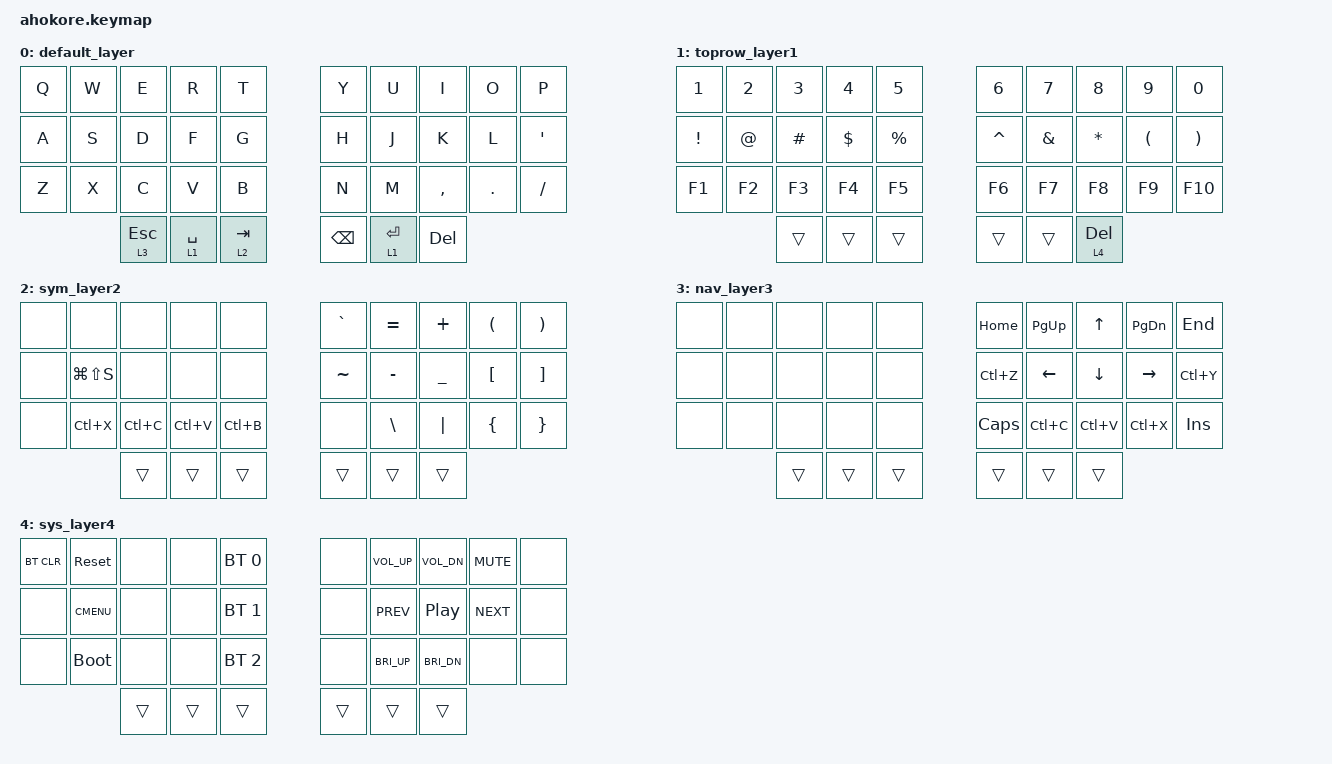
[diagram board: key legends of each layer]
/*
 * Copyright (c) 2020 The ZMK Contributors
 *
 * SPDX-License-Identifier: MIT
 */

#include <behaviors.dtsi>
#include <dt-bindings/zmk/keys.h>
#include <dt-bindings/zmk/bt.h>

&kscan0 {
      debounce-period=<12>;
};

/ {

behaviors {
      hm: homerow_mods {
        compatible = "zmk,behavior-hold-tap";
        label = "HOMEROW_MODS";
        #binding-cells = <2>;
        tapping_term_ms = <180>;
        flavor = "tap-preferred";
        bindings = <&kp>, <&kp>;
    };

    combos {
    compatible = "zmk,combos";
    combo_volup {
        timeout-ms = <40>;
        key-positions = <5 6>;
        bindings = <&kp C_VOL_UP>;
        layers = <0>;
    };
    combo_voldown {
        timeout-ms = <40>;
        key-positions = <15 16>;
        bindings = <&kp C_VOL_DN>;
        layers = <0>;
    };
    combo_mute {
        timeout-ms = <40>;
        key-positions = <25 26>;
        bindings = <&kp C_MUTE>;
        layers = <0>;
    };
    combo_briup {
        timeout-ms = <40>;
        key-positions = <5 6>;
        bindings = <&kp C_BRI_UP>;
        layers = <1>;
    };
    combo_bridown {
        timeout-ms = <40>;
        key-positions = <15 16>;
        bindings = <&kp C_BRI_DN>;
        layers = <1>;
    };
    combo_pp {
        timeout-ms = <40>;
        key-positions = <25 26>;
        bindings = <&kp C_PP>;
        layers = <2>;
    };
    combo_NXT {
        timeout-ms = <40>;
        key-positions = <5 6>;
        bindings = <&kp C_NEXT>;
        layers = <2>;
    };
    combo_PREV {
        timeout-ms = <40>;
        key-positions = <15 16>;
        bindings = <&kp C_PREV>;
        layers = <2>;
    };
    combo_semi {
        timeout-ms = <45>;
        key-positions = <17 18 19>;
        bindings = <&kp SEMI>;
    };

    combo_LSHIFT {
        timeout-ms = <40>;
        key-positions = <12 13>;
        bindings = <&kp LSHIFT>;
    };
    combo_LCTRL {
        timeout-ms = <40>;
        key-positions = <11 12>;
        bindings = <&kp LCTRL>;
    };
    combo_LALT {
        timeout-ms = <40>;
        key-positions = <10 11>;
        bindings = <&kp LALT>;
    };
    combo_LGUI {
        timeout-ms = <40>;
        key-positions = <10 13>;
        bindings = <&kp LGUI>;
    };
    combo_RSHIFT {
        timeout-ms = <40>;
        key-positions = <16 17>;
        bindings = <&kp RSHIFT>;
    };
    combo_RCTRL {
        timeout-ms = <40>;
        key-positions = <17 18>;
        bindings = <&kp RCTRL>;
    };
    combo_RALT {
        timeout-ms = <40>;
        key-positions = <18 19>;
        bindings = <&kp RALT>;
    };
    combo_RGUI {
        timeout-ms = <40>;
        key-positions = <16 19>;
        bindings = <&kp RGUI>;
    };
    combo_LSHFCTRL {
        timeout-ms = <40>;
        key-positions = <11 12 13>;
        bindings = <&kp LS(LCTRL)>;
    };
    combo_LALTCTRL {
        timeout-ms = <40>;
        key-positions = <10 11 12>;
        bindings = <&kp LA(LCTRL)>;
    };
    };
};
        keymap {
                compatible = "zmk,keymap";

                default_layer {
// -----------------------------------------------------------------------------------------
// |  Q  |  W  |   E   |  R  |   T   |  Y  |   U   |   I   |  O  |  P  |
// |  A  |  S  |   D   |  F  |   G   |  H  |   J   |   K   |  L  |  '  |
// |  Z  |  X  |   C   |  V  |   B   |  N  |   M   |   ,   |  .  |  /  |
//             | ESC/3 |SPC/1| TAB/2 | BKS | ENT/1 | DEL |
                        bindings = <
   &kp Q &kp W &kp E &kp R &kp T   &kp Y &kp U  &kp I     &kp O   &kp P
   &kp A &kp S &kp D &kp F &kp G   &kp H &kp J  &kp K  &kp L  &kp SQT
   &kp Z &kp X &kp C &kp V &kp B   &kp N &kp M  &kp COMMA &kp DOT &kp FSLH
   &lt 3 ESC &lt 1 SPC &lt 2 TAB &kp BSPC &lt 1 RET &kp DEL
                        >;
                };

                toprow_layer1 {
// -----------------------------------------------------------------------------------------
// |  1  |  2  |   3   |  4  |   5   |  6  |  7    |   8   |  9  |  0  |
// |  !  |  @  |   #   |  $  |   %   |  ^  |  &    |   *   |  (  |  )  |
// |  F1 |  F2 |   F3  |  F4 |   F5  |  F6 |  F7   |   F8  |  F9 | F10 |
//             | ESC/3 |SPC/1| TAB/2 | BKS | ENT/1 | DEL/4 |
                        bindings = <
   &kp N1    &kp N2    &kp N3    &kp N4      &kp N5      &kp N6    &kp N7    &kp N8    &kp N9     &kp N0
   &kp EXCL  &kp AT    &kp HASH  &kp DOLLAR  &kp PRCNT   &kp CARET &kp AMPS  &kp STAR  &kp LPAR  &kp RPAR
   &kp F1  &kp F2  &kp F3  &kp F4    &kp F5   &kp F6  &kp F7  &kp F8 &kp F9    &kp F10
   &trans    &trans    &trans    &trans      &trans      &lt 4 DEL
                        >;
                };

                sym_layer2 {
// -----------------------------------------------------------------------------------------
// |     |     |       |     |       |  `  |   =   |   +   |  (  |  )  |
// |     |ScnSh|       |     |       |  ~  |   -   |   _   |  [  |  ]  |
// |     | CUT | CPY   | PST | CTLB  |     |   \   |   |   |  {  |  }  |
//             | ESC/3 |SPC/1| TAB/2 | BKS | ENT/1 | DEL/4 |
                        bindings = <
   &none     &none         &none     &none      &none     &kp GRAVE &kp EQUAL   &kp PLUS    &kp LPAR    &kp RPAR
   &none     &kp LG(LS(S)) &none     &none      &none     &kp TILDE &kp MINUS   &kp UNDER   &kp LBKT    &kp RBKT
   &none     &kp LC(X)     &kp LC(C) &kp LC(V)  &kp LC(B) &none     &kp BSLH    &kp PIPE    &kp LBRC    &kp RBRC
   &trans    &trans        &trans    &trans     &trans  &trans
                        >;
                };

                nav_layer3 {
// -----------------------------------------------------------------------------------------
// |     |     |       |     |       | HM  |  PU   |  UP   |  PD  |  END  |
// |     |     |       |     |       | UND |  LT   |  DN   |  RT  |  RE   |
// |     |     |       |     |       | CAP | CPY   |  PST  |  CUT |  INS  |
//             | ESC/3 |SPC/1| TAB/2 | BKS | ENT/1 | DEL/4 |
                        bindings = <
   &none     &none       &none     &none      &none   &kp HOME &kp PG_UP   &kp UP    &kp PG_DN    &kp END
   &none     &none       &none     &none      &none   &kp LC(Z) &kp LEFT   &kp DOWN  &kp RIGHT    &kp LC(Y)
   &none     &none       &none     &none      &none   &kp CAPS  &kp LC(C)  &kp LC(V) &kp LC(X)    &kp INSERT
   &trans    &trans    &trans    &trans      &trans      &trans
                        >;
                };
                
                sys_layer4 {
// -----------------------------------------------------------------------------------------
// |BTCLR| RST |       |     |  BT1  |      | V_up   |  V_dn  | mute |      |
// |     |CMENU|       |     |  BT2  |      | PREV   |  PP    | NEXT |      |
// |     | BOOT|       |     |  BT3  |      | Bri_up | Bri_dn |      |      |
//             | ESC/3 |SPC/1| TAB/2 | BKS  | ENT/1  | DEL/4  |
                        bindings = <
   &bt BT_CLR   &sys_reset  &none  &none &bt BT_SEL 0   &none   &kp C_VOL_UP  &kp C_VOL_DN  &kp C_MUTE &none
   &none        &kp K_CMENU &none  &none &bt BT_SEL 1   &none   &kp C_PREV    &kp C_PP      &kp C_NEXT &none
   &none        &bootloader &none  &none &bt BT_SEL 2   &none   &kp C_BRI_UP  &kp C_BRI_DN  &none      &none
   &trans   &trans    &trans     &trans   &trans   &trans
                        >;
                };


        };
};
